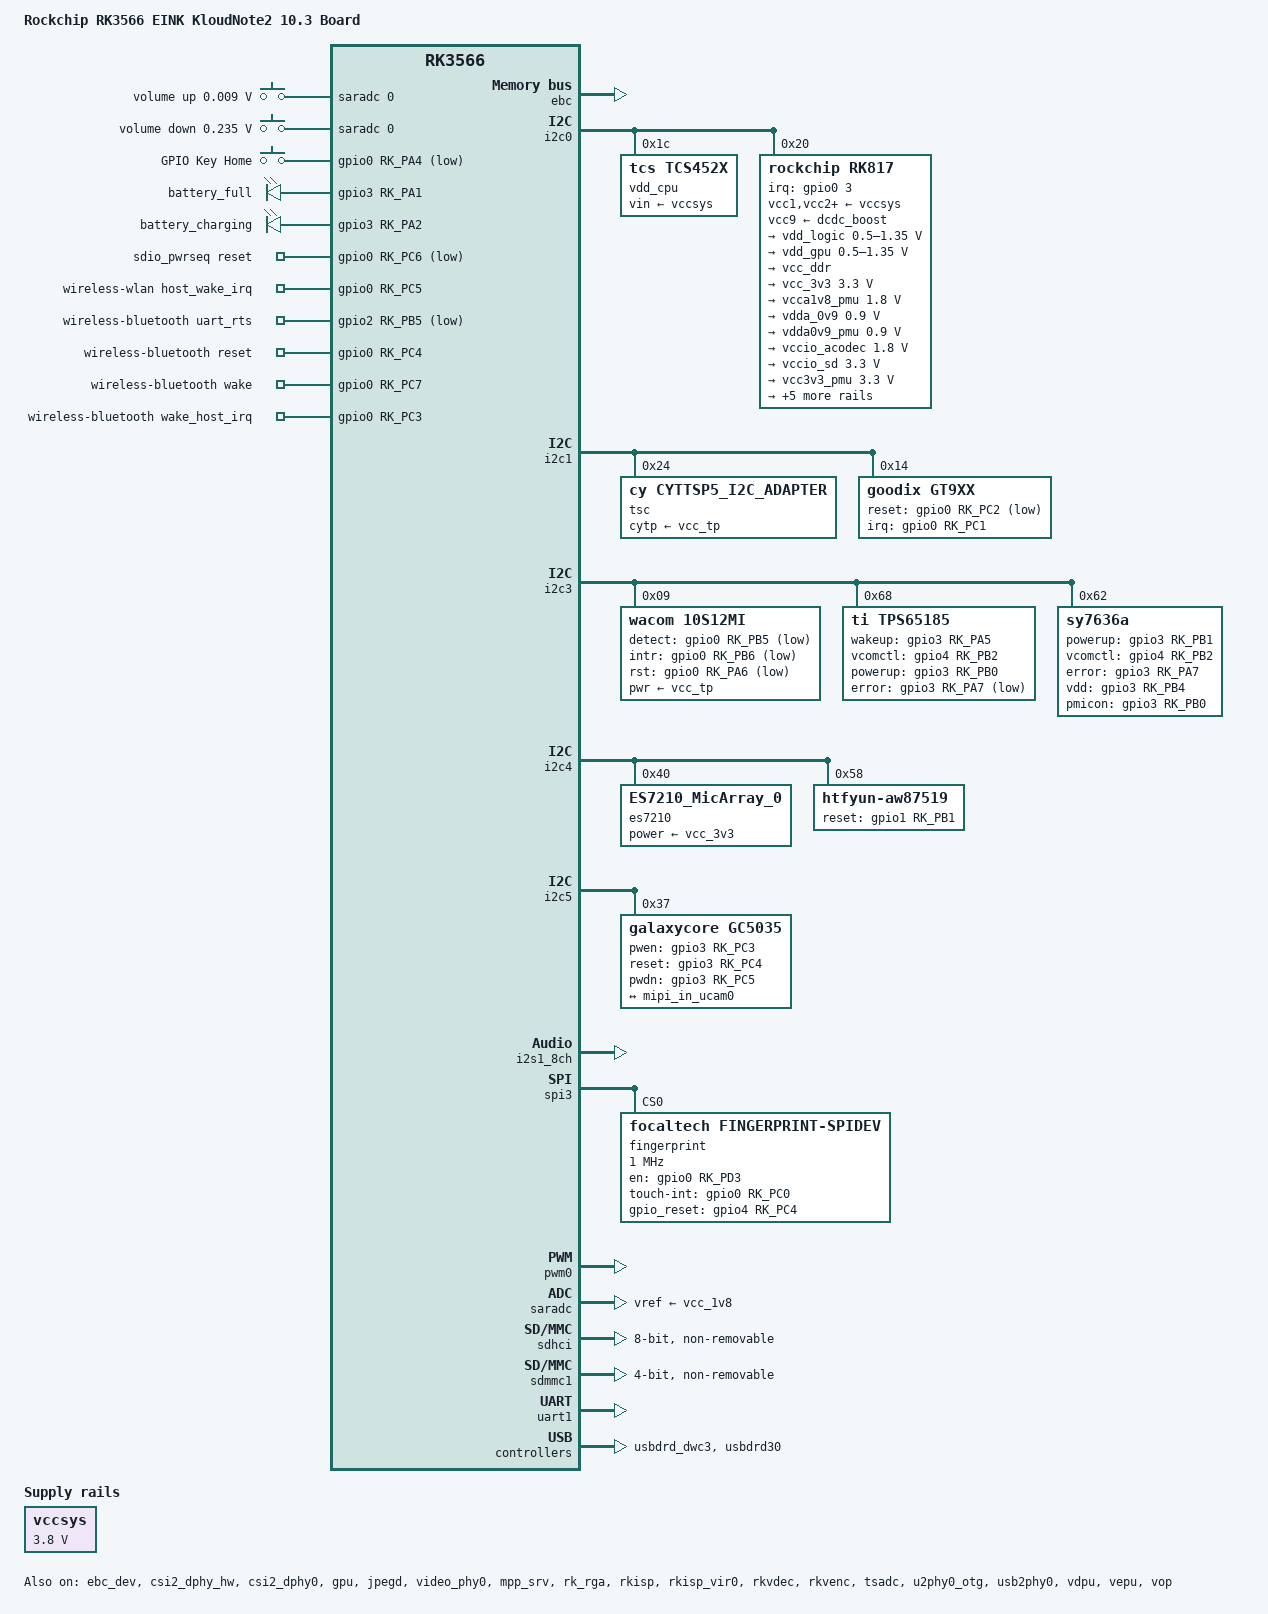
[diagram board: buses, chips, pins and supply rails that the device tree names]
// SPDX-License-Identifier: (GPL-2.0+ OR MIT)
/*
 * Copyright (c) 2020 Rockchip Electronics Co., Ltd.
 *
 */

/dts-v1/;

#include <dt-bindings/gpio/gpio.h>
#include <dt-bindings/pinctrl/rockchip.h>
#include <dt-bindings/input/rk-input.h>
#include <dt-bindings/sensor-dev.h>
#include <dt-bindings/display/drm_mipi_dsi.h>
#include <dt-bindings/usb/pd.h>
#include "rk3566.dtsi"
#include "rk3568-android.dtsi"
#include "rk3566-eink.dtsi"

#define KLOUDNOTE_LOW
//#define EINK10S 
//#define EINKXK
#ifdef KLOUDNOTE_LOW
#define EINK10S
#define TP_SMALL
#else
#define AOYI103
#endif
//#define TYPEC_fusb30x

/ {
    model = "Rockchip RK3566 EINK KloudNote2 10.3 Board";
    compatible = "rockchip,rk3566-rk817-eink", "rockchip,rk3566";

    ramoops_mem: ramoops_mem {
        reg = <0x0 0x110000 0x0 0xf0000>;
        reg-names = "ramoops_mem";
    };

    ramoops {
        compatible = "ramoops";
        record-size = <0x0 0x20000>;
        console-size = <0x0 0x80000>;
        ftrace-size = <0x0 0x00000>;
        pmsg-size = <0x0 0x50000>;
        memory-region = <&ramoops_mem>;
    };

    charge-animation {
        compatible = "rockchip,uboot-charge";
        rockchip,uboot-charge-on = <0>;
        rockchip,android-charge-on = <0>;
        rockchip,uboot-low-power-voltage = <3350>;
        rockchip,screen-on-voltage = <3400>;
        rockchip,auto-wakeup-interval = <60>;
        status = "okay";
    };

    adc_keys: adc-keys {
        status = "okay";
        compatible = "adc-keys";
        io-channels = <&saradc 0>;
        io-channel-names = "buttons";
        keyup-threshold-microvolt = <1800000>;
        poll-interval = <100>;

        vol-up-key {
            label = "volume up";
            linux,code = <KEY_F11>;
            press-threshold-microvolt = <9000>;
        };

        vol-down-key {
            label = "volume down";
            linux,code = <KEY_F12>;
            press-threshold-microvolt = <235000>;
        };
    };

    gpio_keys: gpio-keys {
        status = "okay";
        compatible = "gpio-keys";
        autorepeat;

        HOME {
            label = "GPIO Key Home";
            gpios = <&gpio0 RK_PA4 GPIO_ACTIVE_LOW>;
            debounce-interval = <10>;
            linux,input-type = <EV_KEY>;
            linux,code = <KEY_HOMEPAGE>;
            wakeup-source;
            wakeup-event-action = <0x01>;
        };
    };

    leds: gpio-leds {
        compatible = "gpio-leds";
        pinctrl-names = "default";
        pinctrl-0 =<&leds_gpio>;

        led@1 {
            gpios = <&gpio3 RK_PA1 GPIO_ACTIVE_HIGH>;
            linux,default-trigger = "battery-full";
            label = "battery_full";
            retain-state-suspended;
        };

        led@2 {
            gpios = <&gpio3 RK_PA2 GPIO_ACTIVE_HIGH>;
            linux,default-trigger = "battery-charging";
            label = "battery_charging";
            retain-state-suspended;
        };
    };

    hall_sensor: hall-mh248 {
        compatible = "hall-mh248";
        irq-gpio = <&gpio0 RK_PA0 IRQ_TYPE_EDGE_BOTH>;
        hall-active = <1>;
        status = "disabled";
    };

    vccsys: vccsys {
        compatible = "regulator-fixed";
        regulator-name = "vcc3v8_sys";
        regulator-always-on;
        regulator-boot-on;
        regulator-min-microvolt = <3800000>;
        regulator-max-microvolt = <3800000>;
    };

    rk817_sound: rk817-sound {
        compatible = "simple-audio-card";
        simple-audio-card,format = "i2s";
        simple-audio-card,name = "rockchip,rk817-codec";
        simple-audio-card,mclk-fs = <256>;

        simple-audio-card,cpu {
            sound-dai = <&i2s1_8ch>;
        };
        simple-audio-card,codec {
            sound-dai = <&rk817_codec>;
        };
    };

    sdio_pwrseq: sdio-pwrseq {
        compatible = "mmc-pwrseq-simple";
        clocks = <&rk817 1>;
        clock-names = "ext_clock";
        pinctrl-names = "default";
        pinctrl-0 = <&wifi_enable_h>;

        /*
         * On the module itself this is one of these (depending
         * on the actual card populated):
         * - SDIO_RESET_L_WL_REG_ON
         * - PDN (power down when low)
         */
        post-power-on-delay-ms = <200>;
        reset-gpios = <&gpio0 RK_PC6 GPIO_ACTIVE_LOW>;
    };

    wireless-wlan {
        compatible = "wlan-platdata";
        rockchip,grf = <&grf>;
        wifi_chip_type = "ap6255";
        pinctrl-names = "default";
        pinctrl-0 = <&wifi_vbat &wifi_host_wake_irq>;
        WIFI,host_wake_irq = <&gpio0 RK_PC5 GPIO_ACTIVE_HIGH>;
        status = "okay";
    };

    wireless-bluetooth {
        compatible = "bluetooth-platdata";
        clocks = <&rk817 1>;
        clock-names = "ext_clock";
        wifi-bt-power-toggle;
        uart_rts_gpios = <&gpio2 RK_PB5 GPIO_ACTIVE_LOW>;
        pinctrl-names = "default", "rts_gpio";
        pinctrl-0 = <&uart1m0_rtsn>, <&bt_reset_gpio>, <&bt_wake_gpio>, <&bt_irq_gpio>;
        pinctrl-1 = <&uart1_gpios>;
        BT,reset_gpio = <&gpio0 RK_PC4 GPIO_ACTIVE_HIGH>;
        BT,wake_gpio = <&gpio0 RK_PC7 GPIO_ACTIVE_HIGH>;
        BT,wake_host_irq = <&gpio0 RK_PC3 GPIO_ACTIVE_HIGH>;
        status = "okay";
    };
};

&ebc {
    /* clock rate 1000M/n, (n=1~32) */
    assigned-clocks = <&cru CPLL_333M>, <&cru DCLK_EBC>;
	#ifdef EINKXK
    assigned-clock-rates = <34000000>, <34000000>;
	#elif defined(AOYI103)
	// stand: 46000000, increase 10%=50600000, set to 49M first.
	assigned-clock-rates = <49000000>, <49000000>; 
	#else
	assigned-clock-rates = <34000000>, <34000000>;
	#endif 
    status = "okay";
};

&ebc_dev {
    pmic = <&tps65185 &sy7636a>;
    //backlight = <&backlight>;
    status = "okay";
	
    /* ES103TC1 */
#ifdef EINK10S	
    panel,width = <1872>;
    panel,height = <1404>;
    panel,vir_width = <1872>;
    panel,vir_height = <1404>;
    panel,sdck = <34000000>; // 20220530: fix for new-clk asignment.
    panel,lsl = <18>;
    panel,lbl = <17>;
    panel,ldl = <234>;
    panel,lel = <7>;
    panel,gdck-sta = <34>;
    panel,lgonl = <192>;
    panel,fsl = <1>;
    panel,fbl = <4>;
    panel,fdl = <1404>;
    panel,fel = <2>;
    panel,mirror = <0>;
    panel,panel_16bit = <1>;
    panel,panel_color = <0>;
    panel,width-mm = <210>;
    panel,height-mm = <157>;
    panel,dpi = <220>;
    panel,vcom-mv = <1670>;
#elif defined(EINKXK)	
	panel,width = <2480>;
    panel,height = <1860>;
    panel,vir_width = <2480>;
    panel,vir_height = <1860>;
    panel,sdck = <34000000>; // 20220627: the real clk is 63M HZ.
    panel,lsl = <14>;
    panel,lbl = <8>;
    panel,ldl = <310>;
    panel,lel = <51>;
    panel,gdck-sta = <34>;
    panel,lgonl = <192>;
    panel,fsl = <2>;
    panel,fbl = <4>;
    panel,fdl = <1860>;
    panel,fel = <4>;
    panel,mirror = <0>;
    panel,panel_16bit = <1>;
    panel,panel_color = <0>;
    panel,width-mm = <210>;
    panel,height-mm = <157>;
    panel,dpi = <300>;
    panel,vcom-mv = <1670>;
#elif defined(AOYI103)
	panel,width = <2240>;
    panel,height = <1680>;
    panel,vir_width = <2240>;
    panel,vir_height = <1680>;
    panel,sdck = <46000000>; //<34000000>; // 20220530: fix for new-clk asignment.
    panel,lsl = <18>;
    panel,lbl = <17>;
    panel,ldl = <280>;
    panel,lel = <7>;
    panel,gdck-sta = <10>;
    panel,lgonl = <288>;
    panel,fsl = <1>;
    panel,fbl = <4>;
    panel,fdl = <1680>;
    panel,fel = <5>;
    panel,mirror = <0>;
    panel,panel_16bit = <1>;
    panel,panel_color = <0>;
    panel,width-mm = <210>;
    panel,height-mm = <157>;
    panel,dpi = <300>;
    panel,vcom-mv = <1830>;
#else
	"Error:No EINK-PANEL defined!!"
#endif 
};

// 20220523,hsl fix: 6*fb_size + 2*lcd_size + 512K 
// 10.3: 6*2628288 + 2*657088 + 512*1024= 17608192 = 0X10CAE00
// EINKX: 4612800*6 + 2*1153216 + 512*1024 = 27676800 + 2306432 + 524288 = 30507520 = 1D18200
// 20230213: for serria-C,dither-error-buf is short. 17608192 + 2628288*2 = 22864768 = 0x15CE380
// OED103H: 8*3763200 + 940800*2 + 524288 = 994688 + 38063104 = 39057792 = 0x253F980
&display_reserved {
	#ifdef EINKXK
	reg = <0x0 0x10900000 0x0 0x1D1A000>;
	#elif defined(AOYI103)
	reg = <0x0 0x10900000 0x0 0x2540000>;
	#else 
	reg = <0x0 0x10900000 0x0 0x15d0000>;
	#endif 
};
		
&cpu0 {
    cpu-supply = <&vdd_cpu>;
};

&csi2_dphy_hw {
    status = "okay";
};

&csi2_dphy0 {
    status = "okay";

    ports {
        #address-cells = <1>;
        #size-cells = <0>;
        port@0 {
            reg = <0>;
            #address-cells = <1>;
            #size-cells = <0>;

            mipi_in_ucam0: endpoint@0 {
                reg = <0>;
                remote-endpoint = <&gc5035_out>;
                data-lanes = <1 2>;
            };
        };
        port@1 {
            reg = <1>;
            #address-cells = <1>;
            #size-cells = <0>;

            csidphy0_out: endpoint@0 {
                reg = <0>;
                remote-endpoint = <&isp0_in>;
            };
        };
    };
};

&gpu {
    mali-supply = <&vdd_gpu>;
    status = "okay";
};

&hdmi {
    status = "disabled";
};

&hdmi_in_vp0 {
    status = "disabled";
};

&hdmi_in_vp1 {
    status = "disabled";
};

&i2c0 {
    status = "okay";

    vdd_cpu: tcs4525@1c {
        compatible = "tcs,tcs452x";
        reg = <0x1c>;
        vin-supply = <&vccsys>;
        regulator-compatible = "fan53555-reg";
        regulator-name = "vdd_cpu";
        regulator-min-microvolt = <712500>;
        regulator-max-microvolt = <1390000>;
        regulator-init-microvolt = <900000>;
        regulator-ramp-delay = <2300>;
        fcs,suspend-voltage-selector = <0>;
        regulator-initial-mode = <0x2>;
        regulator-boot-on;
        regulator-always-on;
        regulator-state-mem {
            regulator-on-in-suspend;
            regulator-suspend-microvolt = <1100000>;
            regulator-changeable-in-suspend;
        };
    };

    rk817: pmic@20 {
        compatible = "rockchip,rk817";
        reg = <0x20>;
        interrupt-parent = <&gpio0>;
        interrupts = <3 IRQ_TYPE_LEVEL_LOW>;

        pinctrl-names = "default", "pmic-sleep", "pmic-power-off", "pmic-reset";
        pinctrl-0 = <&pmic_int>;
        pinctrl-1 = <&soc_slppin_slp>, <&rk817_slppin_slp>;
        pinctrl-2 = <&soc_slppin_gpio>, <&rk817_slppin_pwrdn>;
        pinctrl-3 = <&soc_slppin_rst>, <&rk817_slppin_rst>;
        rockchip,system-power-controller;
        wakeup-source;
        #clock-cells = <1>;
        clock-output-names = "rk808-clkout1", "rk808-clkout2";
        //fb-inner-reg-idxs = <2>;
        /* 1: rst regs (default in codes), 0: rst the pmic */
        pmic-reset-func = <1>;
        /* not save the PMIC_POWER_EN register in uboot */
        not-save-power-en = <1>;
        vcc1-supply = <&vccsys>;
        vcc2-supply = <&vccsys>;
        vcc3-supply = <&vccsys>;
        vcc4-supply = <&vccsys>;
        vcc5-supply = <&vccsys>;
        vcc6-supply = <&vccsys>;
        vcc7-supply = <&vccsys>;
        vcc8-supply = <&vccsys>;
        vcc9-supply = <&dcdc_boost>;

        pwrkey {
            status = "okay";
        };

        pinctrl_rk8xx: pinctrl_rk8xx {
            gpio-controller;
            #gpio-cells = <2>;

            rk817_slppin_null: rk817_slppin_null {
                pins = "gpio_slp";
                function = "pin_fun0";
            };

            rk817_slppin_slp: rk817_slppin_slp {
                pins = "gpio_slp";
                function = "pin_fun1";
            };

            rk817_slppin_pwrdn: rk817_slppin_pwrdn {
                pins = "gpio_slp";
                function = "pin_fun2";
            };

            rk817_slppin_rst: rk817_slppin_rst {
                pins = "gpio_slp";
                function = "pin_fun3";
            };
        };

        regulators {
            vdd_logic: DCDC_REG1 {
                regulator-always-on;
                regulator-boot-on;
                regulator-min-microvolt = <500000>;
                regulator-max-microvolt = <1350000>;
                regulator-init-microvolt = <900000>;
                regulator-ramp-delay = <6001>;
                regulator-initial-mode = <0x2>;
                regulator-name = "vdd_logic";
                regulator-state-mem {
                    regulator-off-in-suspend;
                    regulator-suspend-microvolt = <900000>;
                    regulator-changeable-in-suspend;
                };
            };

            vdd_gpu: DCDC_REG2 {
                regulator-always-on;
                regulator-boot-on;
                regulator-min-microvolt = <500000>;
                regulator-max-microvolt = <1350000>;
                regulator-init-microvolt = <900000>;
                regulator-ramp-delay = <6001>;
                regulator-initial-mode = <0x2>;
                regulator-name = "vdd_gpu";
                    regulator-state-mem {
                    regulator-off-in-suspend;
                    regulator-changeable-in-suspend;
                };
            };

            vcc_ddr: DCDC_REG3 {
                regulator-always-on;
                regulator-boot-on;
                regulator-initial-mode = <0x2>;
                regulator-name = "vcc_ddr";
                regulator-state-mem {
                    regulator-on-in-suspend;
                };
            };

            vcc_3v3: DCDC_REG4 {
                regulator-always-on;
                regulator-boot-on;
                regulator-min-microvolt = <3300000>;
                regulator-max-microvolt = <3300000>;
                regulator-initial-mode = <0x2>;
                regulator-name = "vcc_3v3";
                regulator-state-mem {
                    regulator-off-in-suspend;
                    regulator-changeable-in-suspend;
                };
            };

            vcca1v8_pmu: LDO_REG1 {
                regulator-always-on;
                regulator-boot-on;
                regulator-min-microvolt = <1800000>;
                regulator-max-microvolt = <1800000>;
                regulator-name = "vcca1v8_pmu";
                regulator-state-mem {
                    regulator-on-in-suspend;
                    regulator-suspend-microvolt = <1800000>;
                    regulator-changeable-in-suspend;
                };
            };

            vdda_0v9: LDO_REG2 {
                regulator-always-on;
                regulator-boot-on;
                regulator-min-microvolt = <900000>;
                regulator-max-microvolt = <900000>;
                regulator-name = "vdda_0v9";
                regulator-state-mem {
                    regulator-off-in-suspend;
                    regulator-changeable-in-suspend;
                };
            };

            vdda0v9_pmu: LDO_REG3 {
                regulator-always-on;
                regulator-boot-on;
                regulator-min-microvolt = <900000>;
                regulator-max-microvolt = <900000>;
                regulator-name = "vdda0v9_pmu";
                regulator-state-mem {
                    regulator-on-in-suspend;
                    regulator-suspend-microvolt = <900000>;
                    regulator-changeable-in-suspend;
                };
            };

            vccio_acodec: LDO_REG4 {
                regulator-always-on;
                regulator-boot-on;
                regulator-min-microvolt = <1800000>;
                regulator-max-microvolt = <1800000>;
                regulator-name = "vccio_acodec";
                regulator-state-mem {
                    regulator-off-in-suspend;
                    regulator-changeable-in-suspend;
                };
            };

            vccio_sd: LDO_REG5 {
                regulator-always-on;
                regulator-boot-on;
                regulator-min-microvolt = <3300000>;
                regulator-max-microvolt = <3300000>;
                regulator-name = "vccio_sd";
                regulator-state-mem {
                    regulator-off-in-suspend;
                    regulator-changeable-in-suspend;
                };
            };

            vcc3v3_pmu: LDO_REG6 {
                regulator-always-on;
                regulator-boot-on;
                regulator-min-microvolt = <3300000>;
                regulator-max-microvolt = <3300000>;
                regulator-name = "vcc3v3_pmu";
                regulator-state-mem {
                    regulator-on-in-suspend;
                    regulator-suspend-microvolt = <3000000>;
                    regulator-changeable-in-suspend;
                };
            };

            vcc_1v8: LDO_REG7 {
                regulator-always-on;
                regulator-boot-on;
                regulator-min-microvolt = <1800000>;
                regulator-max-microvolt = <1800000>;
                regulator-name = "vcc_1v8";
                regulator-state-mem {
                    regulator-off-in-suspend;
                    regulator-changeable-in-suspend;
                };
            };

            vcc_tp: LDO_REG8 {
                regulator-min-microvolt = <3000000>;
                regulator-max-microvolt = <3000000>;
                regulator-name = "vcc_tp";
                regulator-state-mem {
                    regulator-off-in-suspend;
                    regulator-suspend-microvolt = <3000000>;
                    regulator-changeable-in-suspend;
                };
            };

            sleep_sta_ctl: LDO_REG9 {
                regulator-name = "sleep_sta_ctl";
                regulator-state-mem {
                    regulator-on-in-suspend;
                    regulator-suspend-microvolt = <3300000>;
                    regulator-changeable-in-suspend;
                };
            };

            dcdc_boost: BOOST {
                regulator-always-on;
                regulator-boot-on;
                regulator-min-microvolt = <4700000>;
                regulator-max-microvolt = <5400000>;
                regulator-name = "boost";
                regulator-state-mem {
                    regulator-off-in-suspend;
                    regulator-changeable-in-suspend;
                };
            };

            otg_switch: OTG_SWITCH {
                regulator-name = "otg_switch";
                regulator-state-mem {
                    regulator-off-in-suspend;
                    regulator-changeable-in-suspend;
                };
            };
        };

        battery {
            compatible = "rk817,battery";
            ocv_table = <3400 3513 3578 3687 3734 3752 3763
                     3766 3771 3784 3804 3836 3885 3925
                     3962 4005 4063 4114 4169 4227 4303>;
            design_capacity = <4150>;
            design_qmax = <4565>;
            bat_res = <100>;
            sleep_enter_current = <150>;
            sleep_exit_current = <180>;
            sleep_filter_current = <100>;
            power_off_thresd = <3450>;
            zero_algorithm_vol = <3850>;
            max_soc_offset = <60>;
            monitor_sec = <5>;
            sample_res = <10>;
            virtual_power = <0>;
            low_power_sleep = <1>;
        };

        charger {
            compatible = "rk817,charger";
            min_input_voltage = <4500>;
            max_input_current = <1500>;
            max_chrg_current = <2000>;
            max_chrg_voltage = <4300>;
            chrg_term_mode = <0>;
            chrg_finish_cur = <300>;
            virtual_power = <0>;
            dc_det_adc = <0>;
            extcon = <&usb2phy0>;
            gate_function_disable = <1>;
        };

        rk817_codec: codec {
            #sound-dai-cells = <0>;
            compatible = "rockchip,rk817-codec";
            clocks = <&cru I2S1_MCLKOUT>;
            clock-names = "mclk";
            assigned-clocks = <&cru I2S1_MCLKOUT>, <&cru I2S1_MCLK_TX_IOE>;
            assigned-clock-rates = <12288000>;
            assigned-clock-parents = <&cru I2S1_MCLKOUT_TX>, <&cru I2S1_MCLKOUT_TX>;
            pinctrl-names = "default";
            pinctrl-0 = <&i2s1m0_mclk>;
            hp-volume = <20>;
            spk-volume = <3>;
            out-l2spk-r2hp;
            use-ext-amplifier;
            status = "okay";
        };
    };
};

&i2c1 {
    status = "okay";
    tsc@24 {
        status = "okay";
        compatible = "cy,cyttsp5_i2c_adapter";
        reg = <0x24>;
        cy,adapter_id = "cyttsp5_i2c_adapter";
        pinctrl-names = "default";
        pinctrl-0 = <&tsc_gpio>;
        cytp-supply = <&vcc_tp>;
        cy,core {
            cy,name = "cyttsp5_core";
            cy,irq_gpio =  <&gpio0 RK_PC1 IRQ_TYPE_LEVEL_LOW>;
            cy,rst_gpio =  <&gpio0 RK_PC2 GPIO_ACTIVE_HIGH>;
            cy,hid_desc_register = <1>;
            /* CY_CORE_FLAG_RESTORE_PARAMETERS */
            cy,flags = <6>;
            /* CY_CORE_EWG_NONE */
            cy,easy_wakeup_gesture = <0>;
            cy,mt {
                cy,name = "cyttsp5_mt";
                cy,inp_dev_name = "cyttsp5_mt";
                cy,flags = <0x00>; //0x20: CY_MT_FLAG_INV_Y  CY_MT_FLAG_FLIP = 0x08 CY_MT_FLAG_INV_X = 0x10,
                cy,abs =
                    /* ABS_MT_POSITION_X, CY_ABS_MIN_X, CY_ABS_MAX_X, 0, 0 */
                    <0x35 0 1872 0 0
                    /* ABS_MT_POSITION_Y, CY_ABS_MIN_Y, CY_ABS_MAX_Y, 0, 0 */
                    0x36 0 1404 0 0
                    /* ABS_MT_PRESSURE, CY_ABS_MIN_P, CY_ABS_MAX_P, 0, 0 */
                    0x3a 0 255 0 0
                    /* CY_IGNORE_VALUE, CY_ABS_MIN_W, CY_ABS_MAX_W, 0, 0 */
                    0xffff 0 255 0 0
                    /* ABS_MT_TRACKING_ID, CY_ABS_MIN_T, CY_ABS_MAX_T, 0, 0 */
                    0x39 0 15 0 0
                    /* ABS_MT_TOUCH_MAJOR, 0, 255, 0, 0 */
                    0x30 0 255 0 0
                    /* ABS_MT_TOUCH_MINOR, 0, 255, 0, 0 */
                    0x31 0 255 0 0
                    /* ABS_MT_ORIENTATION, -127, 127, 0, 0 */
                    0x34 0xffffff81 127 0 0
                    /* ABS_MT_TOOL_TYPE, 0, MT_TOOL_MAX, 0, 0 */
                    0x37 0 1 0 0
                    /* ABS_DISTANCE, 0, 255, 0, 0 */
                    0x19 0 255 0 0>;

                    cy,vkeys_x = <1872>;
                    cy,vkeys_y = <1404>;
            };
        };
    };
    gt9xx@14 {
        compatible = "goodix,gt9xx";
        reg = <0x14>; 
        status = "okay";
        //interrupt-parent = <&msm_gpio>;
        //interrupts = <13 0x2800>;
        pinctrl-names = "default";
        pinctrl-0 = <&tsc_gpio>;
        reset-gpios = <&gpio0 RK_PC2 GPIO_ACTIVE_LOW>;
        irq-gpios  = <&gpio0 RK_PC1 IRQ_TYPE_LEVEL_LOW>;
        irq-flags = <2>;

        touchscreen-max-id = <11>;
#ifdef TP_SMALL
        touchscreen-size-x = <1872>;
        touchscreen-size-y = <1404>;
#else
        touchscreen-size-x = <2240>;
        touchscreen-size-y = <1680>;
#endif
        touchscreen-max-w = <512>;
        touchscreen-max-p = <512>;
        touchscreen-key-map = <172>, <158>; /*KEY_HOMEPAGE=172, KEY_BACK=158，KEY_MENU=139*/

        goodix,slide-wakeup = <0>;
        goodix,type-a-report = <0>;
        goodix,driver-send-cfg = <1>;
        goodix,resume-in-workqueue = <0>;
        goodix,int-sync = <1>;
        goodix,swap-x2y = <1>;
        goodix,x2x = <1>;
        goodix,y2y = <0>;
        goodix,esd-protect = <1>;
        goodix,auto-update-cfg = <0>;
        goodix,power-off-sleep = <0>;
        goodix,pen-suppress-finger = <0>;
#ifdef TP_SMALL
		goodix,cfg-group0 = [
			65 50 07 7C 05 0A 05 00 01 0F 28 05 5F 46 03 05 00 00 00 00 00 00 08 00 00 00 00 90 30 CC 65 67 D9 0B 00 00 01 BB 02 1C 00 00 00 00 00 03 00 00 00 00 00 46 78 94 C0 02 07 00 00 04 91 49 00 89 52 00 84 5B 00 7F 66 00 7D 71 00 7D 00 00 00 00 00 00 00 00 00 00 00 00 00 00 00 00 00 00 00 00 00 00 00 00 00 00 00 00 00 00 00 00 00 00 00 00 00 01 04 05 06 07 08 09 0C 0D 0E 0F 10 11 14 15 16 17 18 19 1A 1B 1C 1D 00 00 00 00 00 00 00 02 04 06 07 08 0A 0C 0D 0E 0F 10 11 12 13 14 19 1B 1C 1E 1F 20 21 22 23 24 25 26 27 28 29 2A 00 00 00 00 00 00 00 00 00 00 59 01
		];
#else
		goodix,cfg-group0 = [
			64 C0 08 90 06 0A 05 00 01 0F 28 05 5F 46 03 05 00 00 00 00 00 00 08 00 00 00 00 90 30 CC 65 67 D9 0B 00 00 01 BB 02 1D 00 00 00 00 00 03 00 00 00 00 00 46 78 94 C0 02 07 00 00 04 91 49 00 89 52 00 84 5B 00 7F 66 00 7D 71 00 7D 00 00 00 00 00 00 00 00 00 00 00 00 00 00 00 00 00 00 00 00 00 00 00 00 00 00 00 00 00 00 00 00 00 00 00 00 00 01 04 05 06 07 08 09 0C 0D 0E 0F 10 11 14 15 16 17 18 19 1A 1B 1C 1D 00 00 00 00 00 00 00 02 04 06 07 08 0A 0C 0D 0E 0F 10 11 12 13 14 19 1B 1C 1E 1F 20 21 22 23 24 25 26 27 28 29 2A 00 00 00 00 00 00 00 00 00 00 D3 01
		];
#endif
    };
};

&i2c3 {
    status = "okay";
    pinctrl-names = "default";
    pinctrl-0 = <&i2c3m1_xfer>;

    wacom: wacom@09 {
        status = "okay";
        compatible = "wacom,10S12MI";
        reg = <0x09>;
        hid-descr-addr = <0x0001>;
        pwr-supply = <&vcc_tp>;
        pinctrl-names = "default";
        pinctrl-0 = <&wacom_gpio>;
        gpio_detect = <&gpio0 RK_PB5 GPIO_ACTIVE_LOW>;
        gpio_intr = <&gpio0 RK_PB6 GPIO_ACTIVE_LOW>;
        gpio_rst = <&gpio0 RK_PA6 GPIO_ACTIVE_LOW>;
        revert_x = <1>;
        revert_y = <1>;
        xy_exchange = <0>;
        wacom-support-wakeup;
    };

    tps65185: tps65185@68 {
        status = "okay";
        compatible = "ti,tps65185";
        reg = <0x68>;
        pinctrl-names = "default";
        pinctrl-0 = <&einkpmic_gpio>;
        wakeup-gpios = <&gpio3 RK_PA5 GPIO_ACTIVE_HIGH>;
        vcomctl-gpios = <&gpio4 RK_PB2 GPIO_ACTIVE_HIGH>;
        //int-gpios = <&gpio3 RK_PA6 GPIO_ACTIVE_HIGH>;
        powerup-gpios = <&gpio3 RK_PB0 GPIO_ACTIVE_HIGH>;//uboot/power up
        //poweren-gpios = <&gpio3 RK_PB0 GPIO_ACTIVE_HIGH>;//suspend/resume/sleep,before powerup pin
        error-gpios = <&gpio3 RK_PA7 GPIO_ACTIVE_LOW>;   // 20210714: when error, output low. power good, output high.
    };

    sy7636a: sy7636a@62 {
        status = "okay";
        compatible = "sy7636a";
        reg = <0x62>;
        pinctrl-names = "default";
        pinctrl-0 = <&einkpmic_gpio>;
        powerup-gpios = <&gpio3 RK_PB1 GPIO_ACTIVE_HIGH>;
        vcomctl-gpios = <&gpio4 RK_PB2 GPIO_ACTIVE_HIGH>;
        error-gpios = <&gpio3 RK_PA7 GPIO_ACTIVE_HIGH>;
        vdd-gpios = <&gpio3 RK_PB4 GPIO_ACTIVE_HIGH>;
        pmicon-gpios  = <&gpio3 RK_PB0 GPIO_ACTIVE_HIGH>;
    };

#if 0 //def TYPEC_fusb30x
    usbc0: fusb30x@22 {
        status = "okay";
        compatible = "fairchild,fusb302";
        reg = <0x22>;
        pinctrl-names = "default";
        pinctrl-0 = <&fusb0_int>;
        //pinctrl-0 = <&fusb0_int>, <&fusb0_switch>;
        power-supply = <&vccio_sd>;
        //vbus-5v-gpios = <&gpio1 4 GPIO_ACTIVE_LOW>;
        int-n-gpios = <&gpio0 RK_PB7 GPIO_ACTIVE_HIGH>;
        switch-gpios = <&gpio3 RK_PA3 GPIO_ACTIVE_LOW>;
    };
//#else
    usbc0: et7303@4e {
        status = "okay";
        compatible = "etek,et7303";
        reg = <0x4e>;
        interrupt-parent = <&gpio0>;
        interrupts = <16 IRQ_TYPE_LEVEL_LOW>;
        pinctrl-names = "default";
        pinctrl-0 = <&et7303_int>;

        usb_con: connector {
            data-role = "dual";
            power-role = "dual";
            try-power-role = "sink";
            sink-pdos = <PDO_FIXED(5000, 2000, PDO_FIXED_USB_COMM)>;
            source-pdos = <PDO_FIXED(5000, 2000, PDO_FIXED_USB_COMM)>;
            op-sink-microwatt = <10000000>;
        };
    };
#endif

};

&i2c4 {
    status = "okay";
    pinctrl-names = "default";
    pinctrl-0 = <&i2c4m1_xfer>;

    es7210@40 {
        compatible = "ES7210_MicArray_0";
        power-supply = <&vcc_3v3>;
        reg = <0x40>;
        status = "okay";
    };

    htfyun-aw87519@58 {
        compatible = "htfyun-aw87519";
        reg = <0x58>;
        pinctrl-names = "default";
        pinctrl-0 = <&aw87519_reset_pinctrl>;
        reset-gpios = <&gpio1 RK_PB1 GPIO_ACTIVE_HIGH>;
        status = "okay";
    };
};

&i2c5 {
    status = "okay";
    pinctrl-names = "default";
    pinctrl-0 = <&i2c5m1_xfer>;

    gc5035: gc5035@37 {
        compatible = "galaxycore,gc5035";
        status = "okay";
        reg = <0x37>;
        clocks = <&cru CLK_CAM0_OUT>;
        clock-names = "xvclk";
        power-domains = <&power RK3568_PD_VI>;
        pinctrl-names = "rockchip,camera_default", "rockchip,camera_sleep", "pwen", "pwdn";
        pinctrl-0 = <&cam_clkout0>;
        pinctrl-1 = <&cam_sleep>;
        pinctrl-2 = <&pwer_en>;
        pinctrl-3 = <&pwer_dn>;

		//reset pin control by hardware,used this pin switch to mipi input
		//0->FRONT camera, 1->REAR camera
        pwen-gpios = <&gpio3 RK_PC3 GPIO_ACTIVE_HIGH>;
        reset-gpios = <&gpio3 RK_PC4 GPIO_ACTIVE_HIGH>;
        pwdn-gpios = <&gpio3 RK_PC5 GPIO_ACTIVE_HIGH>;
        rockchip,camera-module-index = <0>;
        rockchip,camera-module-facing = "front";
        rockchip,camera-module-name = "P10K";
        rockchip,camera-module-lens-name = "DL5020";
        port {
            gc5035_out: endpoint {
                remote-endpoint = <&mipi_in_ucam0>;
                data-lanes = <1 2>;
            };
        };
    };
};

&i2s0_8ch {
    status = "disabled";
};

&i2s1_8ch {
    status = "okay";
    rockchip,clk-trcm = <1>;
    pinctrl-names = "default";
    pinctrl-0 = <&i2s1m0_sclktx &i2s1m0_lrcktx &i2s1m0_sdi0 &i2s1m0_sdo0>;
};

&spi3 {
    status = "okay";
    max-freq = <48000000>;
    pinctrl-names = "default";
    pinctrl-0 = <&spi3m1_cs0 &spi3m1_pins>;

    fingerprint: ft9366@0 {
        compatible = "focaltech,fingerprint-spidev";
        reg = <0>;
        spi-max-frequency = <1000000>;
        fingerprint,en-gpio = <&gpio0 RK_PD3 GPIO_ACTIVE_HIGH>;
        fingerprint,touch-int-gpio = <&gpio0 RK_PC0 IRQ_TYPE_EDGE_RISING>;
        fingerprint,gpio_reset = <&gpio4 RK_PC4 GPIO_ACTIVE_HIGH>;
        status = "okay";
    };
};

&jpegd {
    status = "okay";
};

&jpegd_mmu {
    status = "okay";
};

&video_phy0 {
    status = "okay";
};

&mpp_srv {
    status = "okay";
};

&nandc0 {
    status = "disabled";
};

&pinctrl {
    cam {
        cam_clkout0: cam-clkout0 {
            rockchip,pins =
                /* cam_clkout0 */
                <4 RK_PA7 1 &pcfg_pull_none>;
        };

        cam_sleep: cam-sleep {
            rockchip,pins =
                /* cam_sleep */
                <4 RK_PA7 RK_FUNC_GPIO &pcfg_pull_none>;
        };

        pwer_en: pwer-en {
            rockchip,pins =
                <3 RK_PC3 RK_FUNC_GPIO &pcfg_pull_up>;
        };

        pwer_dn: pwer-dn {
            rockchip,pins =
                <3 RK_PC5 RK_FUNC_GPIO &pcfg_pull_up>;
        };
    };

    wacom {
        wacom_gpio: wacom-gpio {
            rockchip,pins =
                <0 RK_PB5 RK_FUNC_GPIO &pcfg_pull_up>,
                <0 RK_PB6 RK_FUNC_GPIO &pcfg_pull_up>,
                <0 RK_PA6 RK_FUNC_GPIO &pcfg_pull_up>;
        };
    };

    fusb30x {
        fusb0_int: fusb0-int {
            rockchip,pins = <0 RK_PB7 RK_FUNC_GPIO &pcfg_pull_up>;
        };

        fusb0_switch: fusb0-switch {
            rockchip,pins = <3 RK_PA3 RK_FUNC_GPIO &pcfg_pull_up>;
        };
    };

    tsc {
        tsc_gpio: tsc-gpio {
            rockchip,pins =
                <0 RK_PC2 RK_FUNC_GPIO &pcfg_pull_up>,
                <0 RK_PC1 RK_FUNC_GPIO &pcfg_pull_up>;
        };
    };

    leds {
        leds_gpio: leds-gpio {
            rockchip,pins =
                <3 RK_PA1 RK_FUNC_GPIO &pcfg_pull_none>,
                <3 RK_PA2 RK_FUNC_GPIO &pcfg_pull_none>;
        };
    };

	eink_pmic {
        einkpmic_gpio: einkpmic-gpio {
            rockchip,pins =
                <3 RK_PA7 RK_FUNC_GPIO &pcfg_pull_none>,
                <3 RK_PB0 RK_FUNC_GPIO &pcfg_pull_none>,
                <3 RK_PB1 RK_FUNC_GPIO &pcfg_pull_down>,
                <3 RK_PB4 RK_FUNC_GPIO &pcfg_pull_none>,
                <4 RK_PB2 RK_FUNC_GPIO &pcfg_pull_none>;
        };
    };

    pmic {
        pmic_int: pmic_int {
            rockchip,pins =
                <0 RK_PA3 RK_FUNC_GPIO &pcfg_pull_up>;
        };

        soc_slppin_gpio: soc_slppin_gpio {
            rockchip,pins =
                <0 RK_PA2 RK_FUNC_GPIO &pcfg_output_low_pull_down>;
        };

        soc_slppin_slp: soc_slppin_slp {
            rockchip,pins =
                <0 RK_PA2 RK_FUNC_1 &pcfg_pull_up>;
        };

        soc_slppin_rst: soc_slppin_rst {
            rockchip,pins =
                <0 RK_PA2 RK_FUNC_2 &pcfg_pull_none>;
        };
    };

    sdio-pwrseq {
        wifi_enable_h: wifi-enable-h {
            rockchip,pins = <0 RK_PC6 RK_FUNC_GPIO &pcfg_pull_none>;
        };
    };

    wireless-wlan {
        wifi_vbat: wifi-vbat {
            rockchip,pins = <0 RK_PA0 RK_FUNC_GPIO &pcfg_pull_none>;
        };

        wifi_host_wake_irq: wifi-host-wake-irq {
            rockchip,pins = <0 RK_PC5 RK_FUNC_GPIO &pcfg_pull_up>;
        };
    };

    wireless-bluetooth {
        uart1_gpios: uart1-gpios {
            rockchip,pins = <2 RK_PB5 RK_FUNC_GPIO &pcfg_pull_none>;
        };

        bt_reset_gpio: bt-reset-gpio {
            rockchip,pins = <0 RK_PC4 RK_FUNC_GPIO &pcfg_pull_none>;
        };

        bt_wake_gpio: bt-wake-gpio {
            rockchip,pins = <0 RK_PC7 RK_FUNC_GPIO &pcfg_pull_none>;
        };

        bt_irq_gpio: bt-irq-gpio {
            rockchip,pins = <0 RK_PC3 RK_FUNC_GPIO &pcfg_pull_up>;
        };
    };

    aw87519_reset_pin {
        aw87519_reset_pinctrl: aw87519-reset-pinctrl {
            rockchip,pins = <1 RK_PB1 RK_FUNC_GPIO &pcfg_pull_none>;
        };
    };
};

&pmu_io_domains {
    status = "okay";
    pmuio1-supply = <&vcc3v3_pmu>;
    pmuio2-supply = <&vcca1v8_pmu>;
    vccio1-supply = <&vccio_acodec>; // 1.8v
    vccio2-supply = <&vcc_1v8>;
    vccio3-supply = <&vccio_sd>; // 3.3v
    vccio4-supply = <&vcca1v8_pmu>;
    vccio5-supply = <&vcc_1v8>;
    vccio6-supply = <&vcc_3v3>;
    vccio7-supply = <&vcca1v8_pmu>;
};

&pwm0 {
    status = "okay";
};

&rk_rga {
    status = "okay";
};

&rkisp {
    status = "okay";
};

&rkisp_mmu {
    status = "okay";
};

&rkisp_vir0 {
    status = "okay";

    port {
        #address-cells = <1>;
        #size-cells = <0>;

        isp0_in: endpoint@0 {
            reg = <0>;
            remote-endpoint = <&csidphy0_out>;
        };
    };
};

&rkvdec {
    status = "okay";
};

&rkvdec_mmu {
    status = "okay";
};

&rkvenc {
    status = "okay";
};

&rkvenc_mmu {
    status = "okay";
};

&rockchip_suspend {
    status = "okay";

    rockchip,regulator-off-in-mem-lite =
        <&vdd_cpu>, <&vdd_logic>, <&vdd_gpu>, <&vcc_3v3>, <&vdda_0v9>, <&vcc_1v8>,
        <&vccio_acodec>, <&dcdc_boost>, <&otg_switch>,
        <&sleep_sta_ctl>;
    rockchip,regulator-on-in-mem-lite =
        <&vcc_ddr>, <&vdda0v9_pmu>, <&vcca1v8_pmu>, <&vcc3v3_pmu>, <&vcc_tp>, <&vccio_sd>;

    rockchip,regulator-off-in-mem =
        <&vdd_cpu>, <&vdd_logic>, <&vdd_gpu>, <&vcc_tp>, <&vcc_3v3>, <&vdda_0v9>, <&vcc_1v8>,
        <&vccio_acodec>, <&dcdc_boost>, <&otg_switch>,
        <&sleep_sta_ctl>;
    rockchip,regulator-on-in-mem =
        <&vcc_ddr>, <&vdda0v9_pmu>, <&vcca1v8_pmu>, <&vcc3v3_pmu>, <&vccio_sd>;

    rockchip,regulator-off-in-mem-ultra =
        <&vdd_logic>, <&vdd_gpu>, <&vcc_ddr>, <&vcc_3v3>, <&vdda_0v9>, <&vcc_1v8>,
        <&vdda0v9_pmu>, <&vcca1v8_pmu>, <&vcc3v3_pmu>, <&vccio_acodec>, <&vccio_sd>,
        <&vcc_tp>, <&dcdc_boost>, <&otg_switch>;
    rockchip,regulator-on-in-mem-ultra = <&vdd_cpu>, <&sleep_sta_ctl>;
};

&saradc {
    status = "okay";
    vref-supply = <&vcc_1v8>;
};

&sdhci {
    bus-width = <8>;
    supports-emmc;
    non-removable;
    keep-power-in-suspend;
    max-frequency = <200000000>;
    status = "okay";
};

&sdmmc0 {
    max-frequency = <50000000>;
    supports-sd;
    bus-width = <4>;
    cap-mmc-highspeed;
    cap-sd-highspeed;
    disable-wp;
    sd-uhs-sdr104;
    card-detect-delay = <300>;//can wait the power is stabled.
    vmmc-supply = <&vccio_sd>;//the sdcard work power.
    vqmmc-supply = <&vccio_sd>;//the sdcard io power.
    pinctrl-names = "default";
    pinctrl-0 = <&sdmmc0_bus4 &sdmmc0_clk &sdmmc0_cmd>;
    cd-gpios = <&gpio0 RK_PA4 GPIO_ACTIVE_LOW>;
    cd-inverted;
    status = "disabled";
};

&sdmmc1 {
    max-frequency = <150000000>;
    supports-sdio;
    bus-width = <4>;
    disable-wp;
    cap-sd-highspeed;
    cap-sdio-irq;
    keep-power-in-suspend;
    mmc-pwrseq = <&sdio_pwrseq>;
    non-removable;
    pinctrl-names = "default";
    pinctrl-0 = <&sdmmc1_bus4 &sdmmc1_cmd &sdmmc1_clk>;
    sd-uhs-sdr104;
    rockchip,default-sample-phase = <90>;
    status = "okay";
};

&tsadc {
    status = "okay";
};

&uart1 {
    status = "okay";
    pinctrl-names = "default";
    pinctrl-0 = <&uart1m0_xfer &uart1m0_ctsn>;
};

&u2phy0_otg {
    status = "okay";
};

&usb2phy0 {
    status = "okay";
    //extcon = <&usbc0>;
};

&usbdrd_dwc3 {
    status = "okay";
    //extcon = <&usbc0>;
};

&usbdrd30 {
    status = "okay";
};

&vdpu {
    status = "okay";
};

&vdpu_mmu {
    status = "okay";
};

&vepu {
    status = "okay";
};

&vepu_mmu {
    status = "okay";
};

&vop {
    status = "okay";
};

&vop_mmu {
    status = "okay";
};
